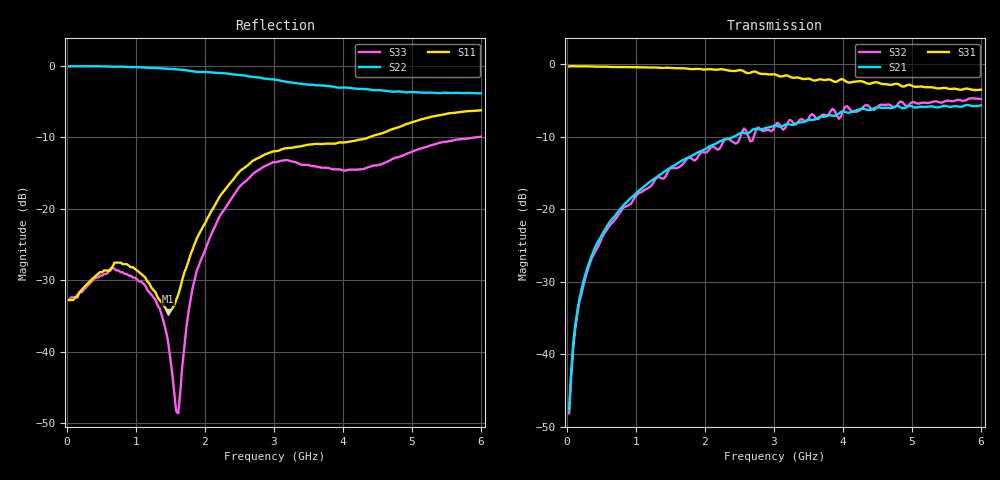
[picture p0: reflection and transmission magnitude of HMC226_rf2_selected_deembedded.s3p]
!Hittite Microwave Corporation
!12 Elizabeth Drive
!Chelmsford Massachusetts 01824
!Tel: 978 250-3343
!Fax: 978 250-3373
!Device: HMC226, DC - 2.0 GHz SP2T switch in SOT26 package
!Misc: Port 1 = RFC, Port 2 = RF1, Port 3 = RF2, RF2 Selected, Vctl= 0/+3VDC
# MHZ S MA R 50
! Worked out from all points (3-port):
!   201 points, 30 MHz to 6 GHz, reference 50 ohm
!   strongest paths, dB at 30 MHz, 1.522 GHz, 3.015 GHz, 4.508 GHz, 6 GHz:
!     S31: -0.3, -0.5, -1.4, -2.5, -3.5
!     S21: -47.6, -14.1, -8.4, -5.9, -5.7
!     S32: -48.1, -14.3, -8.5, -5.8, -4.8
!   lowest |S11| = -34.4 dB at 1.463 GHz (marker M1), VSWR 1.04, Z = 48.7 - j1.35 ohm
!   |S11| at or under -10 dB: start of sweep to 4.375 GHz
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30  0.023 -24.8  0.004172 107.0  0.965 0.6
    0.004151 106.3  0.995 -1.2  0.003897 105.4
    0.967 0.6  0.003915 104.8  0.023 -25.1
149.4  0.024 -20.5  0.02 91.1  0.971 -0.8
       0.02 91.2  0.996 -5.7  0.019 91.2
       0.97 -0.9  0.019 91.1  0.025 -15.3
358.35  0.032 -40.7  0.049 87.3  0.966 -1.8
        0.048 87.4  0.995 -13.6  0.045 87.2
        0.967 -1.9  0.046 86.9  0.031 -32.8
1074.75  0.035 -78.7  0.14 80.4  0.953 -4.3
         0.138 81.7  0.978 -38.2  0.13 81.2
         0.954 -4.4  0.131 80.2  0.031 -58.4
1462.8  0.019 -133.0  0.19 82.4  0.945 -5.7
        0.189 79.7  0.957 -50.5  0.177 79.2
        0.947 -5.9  0.182 81.4  0.012 -59.7
1612.05  0.025 -175.4  0.209 77.1  0.938 -6.3
         0.209 78.6  0.946 -55.7  0.197 78.1
         0.94 -6.4  0.194 77.0  0.0037 -154.4
1940.4  0.07 142.4  0.258 79.5  0.932 -7.5
        0.252 75.9  0.909 -67.0  0.24 75.6
        0.926 -7.8  0.246 75.7  0.044 128.7
3015  0.253 110.9  0.375 69.0  0.853 -12.6
      0.379 61.9  0.802 -120.0  0.37 62.3
      0.853 -13.0  0.375 65.9  0.212 102.1
4089.6  0.295 92.5  0.484 52.0  0.76 -12.3
        0.464 53.9  0.702 -169.2  0.475 51.1
        0.748 -12.6  0.497 47.2  0.188 95.8
6000  0.49 54.3  0.517 32.1  0.665 -12.1
      0.521 33.1  0.644 128.8  0.577 27.7
      0.669 -11.8  0.576 27.7  0.32 82.6
